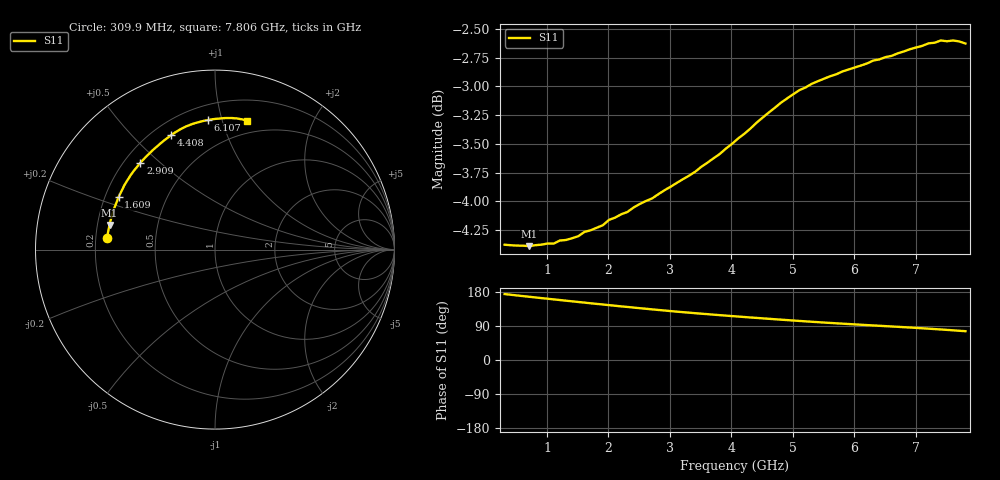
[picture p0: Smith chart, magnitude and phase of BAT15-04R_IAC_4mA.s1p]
! Infineon Technologies  Discrete & RF Semiconductors
! BAT15-04R
! IAC = 4 mA
! One-Port S-Parameters
# Hz  S  MA  R  50
!f  S11
!Hz  Mag  Ang
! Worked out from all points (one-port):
!   76 points, 309.9 MHz to 7.806 GHz, reference 50 ohm
!   lowest |S11| = -4.4 dB at 709.6 MHz (marker M1), VSWR 4.04, Z = 12.5 + j5.42 ohm
!   |S11| at or under -10 dB: nowhere
!   S11 on the Smith chart (normalised r, x): 309.9 MHz: 0.25, +0.05; 1.609 GHz: 0.26, +0.24; 2.909 GHz: 0.27, +0.43; 4.408 GHz: 0.27, +0.65; 6.107 GHz: 0.30, +0.90; 7.806 GHz: 0.38, +1.21
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3.0985e8  0.6041 174.0
7.0965e8  0.6032 166.8
1.0095e9  0.6048 161.7
1.30935e9  0.607 156.5
1.6092e9  0.6119 151.5
1.90905e9  0.616 146.5
2.009e9  0.6193 144.8
2.2089e9  0.6228 141.5
2.30885e9  0.6243 140.0
2.50875e9  0.6292 136.7
2.90855e9  0.6379 130.6
3.2084e9  0.645 126.3
3.50825e9  0.6531 122.2
4.10795e9  0.6719 114.7
4.4078e9  0.6826 111.1
4.70765e9  0.693 107.5
5.0075e9  0.7024 104.1
5.30735e9  0.7097 100.9
5.50725e9  0.7134 98.8
5.8071e9  0.7186 95.8
6.007e9  0.7214 94.0
6.10695e9  0.7228 93.1
6.30685e9  0.7265 91.2
6.90655e9  0.7348 85.7
7.2064e9  0.7391 82.7
7.4063e9  0.7412 80.6
7.6062e9  0.7412 78.3
7.8061e9  0.739 76.0
